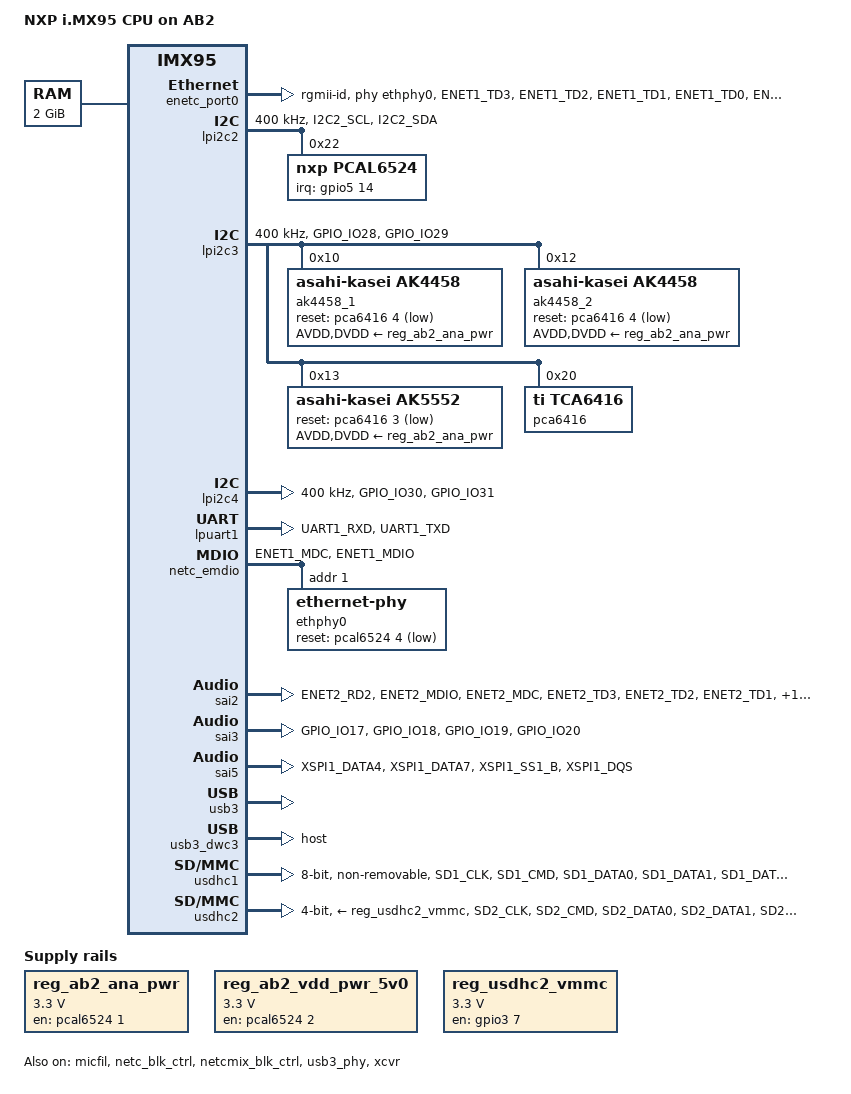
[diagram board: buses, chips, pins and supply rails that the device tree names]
// SPDX-License-Identifier: (GPL-2.0+ OR MIT)
/*
 * Copyright 2024 NXP
 */

/dts-v1/;

#include <dt-bindings/usb/pd.h>
#include "imx95.dtsi"

#define BRD_SM_CTRL_SD3_WAKE		0x8000
#define BRD_SM_CTRL_PCIE1_WAKE		0x8001
#define BRD_SM_CTRL_BT_WAKE		0x8002
#define BRD_SM_CTRL_PCIE2_WAKE		0x8003
#define BRD_SM_CTRL_BUTTON		0x8004

/ {
	compatible = "fsl,imx95-15x15-ab2", "fsl,imx95";
	model = "NXP i.MX95 CPU on AB2";

	aliases {
		ethernet0 = &enetc_port0;
		gpio0 = &gpio1;
		gpio1 = &gpio2;
		gpio2 = &gpio3;
		gpio3 = &gpio4;
		gpio4 = &gpio5;
		i2c0 = &lpi2c1;
		i2c1 = &lpi2c2;
		i2c2 = &lpi2c3;
		i2c3 = &lpi2c4;
		mmc0 = &usdhc1;
		mmc1 = &usdhc2;
		serial0 = &lpuart1;
	};

	chosen {
		#address-cells = <2>;
		#size-cells = <2>;
		stdout-path = &lpuart1;
	};

	reg_ab2_ana_pwr: regulator-ab2-ana-pwr {
		compatible = "regulator-fixed";
		regulator-name = "ab2_ana_pwr";
		regulator-always-on;
		regulator-max-microvolt = <3300000>;
		regulator-min-microvolt = <3300000>;
		gpio = <&pcal6524 1 GPIO_ACTIVE_HIGH>;
		enable-active-high;
	};

	reg_ab2_vdd_pwr_5v0: regulator-ab2-vdd-pwr-5v0 {
		compatible = "regulator-fixed";
		regulator-name = "ab2_vdd_pwr_5v0";
		regulator-always-on;
		regulator-max-microvolt = <3300000>;
		regulator-min-microvolt = <3300000>;
		gpio = <&pcal6524 2 GPIO_ACTIVE_HIGH>;
		enable-active-high;
	};

	reg_usdhc2_vmmc: regulator-usdhc2 {
		compatible = "regulator-fixed";
		regulator-name = "VDD_SD2_3V3";
		off-on-delay-us = <12000>;
		pinctrl-0 = <&pinctrl_reg_usdhc2_vmmc>;
		pinctrl-names = "default";
		regulator-max-microvolt = <3300000>;
		regulator-min-microvolt = <3300000>;
		gpio = <&gpio3 7 GPIO_ACTIVE_HIGH>;
		enable-active-high;
	};

	reserved-memory {
		ranges;
		#address-cells = <2>;
		#size-cells = <2>;

		linux_cma: linux,cma {
			compatible = "shared-dma-pool";
			alloc-ranges = <0 0x80000000 0 0x7f000000>;
			reusable;
			size = <0 0x3c000000>;
			linux,cma-default;
		};

		vpu_boot: vpu-boot@a0000000 {
			reg = <0 0xa0000000 0 0x100000>;
			no-map;
		};
	};

	sound-ak4458 {
		compatible = "fsl,imx-audio-card";
		model = "ak4458-audio";

		pri-dai-link {
			format = "i2s";
			link-name = "akcodec";
			fsl,mclk-equal-bclk;

			codec {
				sound-dai = <&ak4458_1>, <&ak4458_2>;
			};

			cpu {
				sound-dai = <&sai2>;
			};
		};
	};

	sound-ak5552 {
		compatible = "fsl,imx-audio-card";
		model = "ak5552-audio";

		pri-dai-link {
			format = "i2s";
			link-name = "akcodec";
			fsl,mclk-equal-bclk;

			codec {
				sound-dai = <&ak5552>;
			};

			cpu {
				sound-dai = <&sai3>;
			};
		};
	};

	sound-micfil {
		compatible = "fsl,imx-audio-card";
		model = "micfil-audio";

		pri-dai-link {
			format = "i2s";
			link-name = "micfil hifi";

			cpu {
				sound-dai = <&micfil>;
			};
		};
	};

	sound-xcvr {
		compatible = "fsl,imx-audio-card";
		model = "imx-audio-xcvr";

		pri-dai-link {
			link-name = "XCVR PCM";

			cpu {
				sound-dai = <&xcvr>;
			};
		};
	};

	memory@80000000 {
		reg = <0x0 0x80000000 0 0x80000000>;
		device_type = "memory";
	};
};

&enetc_port0 {
	phy-handle = <&ethphy0>;
	phy-mode = "rgmii-id";
	pinctrl-0 = <&pinctrl_enetc0>;
	pinctrl-names = "default";
	status = "okay";
};

&lpi2c1 {
	clock-frequency = <400000>;
	pinctrl-0 = <&pinctrl_lpi2c1>;
	pinctrl-names = "default";
	status = "disabled";
};

&lpi2c2 {
	clock-frequency = <400000>;
	pinctrl-0 = <&pinctrl_lpi2c2>;
	pinctrl-names = "default";
	status = "okay";

	pcal6524: gpio@22 {
		compatible = "nxp,pcal6524";
		reg = <0x22>;
		#interrupt-cells = <2>;
		interrupt-controller;
		interrupt-parent = <&gpio5>;
		interrupts = <14 IRQ_TYPE_LEVEL_LOW>;
		#gpio-cells = <2>;
		gpio-controller;
		pinctrl-0 = <&pinctrl_pcal6524>;
		pinctrl-names = "default";
	};
};

&lpi2c3 {
	clock-frequency = <400000>;
	pinctrl-0 = <&pinctrl_lpi2c3>;
	pinctrl-names = "default";
	status = "okay";

	ak4458_1: audio-codec@10 {
		compatible = "asahi-kasei,ak4458";
		reg = <0x10>;
		#sound-dai-cells = <0>;
		AVDD-supply = <&reg_ab2_ana_pwr>;
		DVDD-supply = <&reg_ab2_ana_pwr>;
		reset-gpios = <&pca6416 4 GPIO_ACTIVE_LOW>;
		sound-name-prefix = "0";
	};

	ak4458_3: audio-codec@11 {
		compatible = "asahi-kasei,ak4458";
		reg = <0x11>;
		#sound-dai-cells = <0>;
		AVDD-supply = <&reg_ab2_ana_pwr>;
		DVDD-supply = <&reg_ab2_ana_pwr>;
		reset-gpios = <&pca6416 4 GPIO_ACTIVE_LOW>;
		status = "disabled";
	};

	ak4458_2: audio-codec@12 {
		compatible = "asahi-kasei,ak4458";
		reg = <0x12>;
		#sound-dai-cells = <0>;
		AVDD-supply = <&reg_ab2_ana_pwr>;
		DVDD-supply = <&reg_ab2_ana_pwr>;
		reset-gpios = <&pca6416 4 GPIO_ACTIVE_LOW>;
		sound-name-prefix = "1";
	};

	ak5552: audio-codec@13 {
		compatible = "asahi-kasei,ak5552";
		reg = <0x13>;
		#sound-dai-cells = <0>;
		AVDD-supply = <&reg_ab2_ana_pwr>;
		DVDD-supply = <&reg_ab2_ana_pwr>;
		reset-gpios = <&pca6416 3 GPIO_ACTIVE_LOW>;
	};

	pca6416: gpio@20 {
		compatible = "ti,tca6416";
		reg = <0x20>;
		#gpio-cells = <2>;
		gpio-controller;
	};
};

&lpi2c4 {
	clock-frequency = <400000>;
	pinctrl-0 = <&pinctrl_lpi2c4>;
	pinctrl-names = "default";
	status = "okay";
};

&lpuart1 {
	/* console */
	pinctrl-names = "default";
	pinctrl-0 = <&pinctrl_uart1>;
	status = "okay";
};

&micfil {
	assigned-clocks = <&scmi_clk IMX95_CLK_AUDIOPLL1_VCO>,
			  <&scmi_clk IMX95_CLK_AUDIOPLL2_VCO>,
			  <&scmi_clk IMX95_CLK_AUDIOPLL1>,
			  <&scmi_clk IMX95_CLK_AUDIOPLL2>,
			  <&scmi_clk IMX95_CLK_PDM>;
	assigned-clock-parents = <0>, <0>, <0>, <0>,
				 <&scmi_clk IMX95_CLK_AUDIOPLL1>;
	assigned-clock-rates = <3932160000>,
			       <3612672000>, <393216000>,
			       <361267200>, <49152000>;
	#sound-dai-cells = <0>;
	pinctrl-0 = <&pinctrl_pdm>;
	pinctrl-names = "default";
	status = "okay";
};

&netc_blk_ctrl {
	status = "okay";
};

&netc_emdio {
	pinctrl-0 = <&pinctrl_emdio>;
	pinctrl-names = "default";
	status = "okay";

	ethphy0: ethernet-phy@1 {
		reg = <1>;
		reset-assert-us = <10000>;
		reset-deassert-us = <80000>;
		reset-gpios = <&pcal6524 4 GPIO_ACTIVE_LOW>;
		realtek,clkout-disable;
	};
};

&netcmix_blk_ctrl {
	status = "okay";
};

&sai2 {
	clocks = <&scmi_clk IMX95_CLK_BUSNETCMIX>, <&dummy>,
		 <&scmi_clk IMX95_CLK_SAI2>, <&dummy>,
		 <&dummy>, <&scmi_clk IMX95_CLK_AUDIOPLL1>,
		 <&scmi_clk IMX95_CLK_AUDIOPLL2>;
	clock-names = "bus", "mclk0", "mclk1", "mclk2", "mclk3", "pll8k", "pll11k";
	assigned-clocks = <&scmi_clk IMX95_CLK_AUDIOPLL1_VCO>,
			  <&scmi_clk IMX95_CLK_AUDIOPLL2_VCO>,
			  <&scmi_clk IMX95_CLK_AUDIOPLL1>,
			  <&scmi_clk IMX95_CLK_AUDIOPLL2>,
			  <&scmi_clk IMX95_CLK_SAI2>;
	assigned-clock-parents = <0>, <0>, <0>, <0>,
				 <&scmi_clk IMX95_CLK_AUDIOPLL1>;
	assigned-clock-rates = <3932160000>,
			       <3612672000>, <393216000>,
			       <361267200>, <12288000>;
	#sound-dai-cells = <0>;
	pinctrl-0 = <&pinctrl_sai2>;
	pinctrl-names = "default";
	fsl,sai-asynchronous;
	fsl,sai-mclk-direction-output;
	status = "okay";
};

&sai3 {
	clocks = <&scmi_clk IMX95_CLK_BUSNETCMIX>, <&dummy>,
		 <&scmi_clk IMX95_CLK_SAI3>, <&dummy>,
		 <&dummy>, <&scmi_clk IMX95_CLK_AUDIOPLL1>,
		 <&scmi_clk IMX95_CLK_AUDIOPLL2>;
	clock-names = "bus", "mclk0", "mclk1", "mclk2", "mclk3", "pll8k", "pll11k";
	assigned-clocks = <&scmi_clk IMX95_CLK_AUDIOPLL1_VCO>,
			  <&scmi_clk IMX95_CLK_AUDIOPLL2_VCO>,
			  <&scmi_clk IMX95_CLK_AUDIOPLL1>,
			  <&scmi_clk IMX95_CLK_AUDIOPLL2>,
			  <&scmi_clk IMX95_CLK_SAI3>;
	assigned-clock-parents = <0>, <0>, <0>, <0>,
				 <&scmi_clk IMX95_CLK_AUDIOPLL1>;
	assigned-clock-rates = <3932160000>,
			       <3612672000>, <393216000>,
			       <361267200>, <12288000>;
	#sound-dai-cells = <0>;
	pinctrl-0 = <&pinctrl_sai3>;
	pinctrl-names = "default";
	fsl,sai-asynchronous;
	fsl,sai-mclk-direction-output;
	status = "okay";
};

&sai5 {
	assigned-clocks = <&scmi_clk IMX95_CLK_AUDIOPLL1_VCO>,
			  <&scmi_clk IMX95_CLK_AUDIOPLL2_VCO>,
			  <&scmi_clk IMX95_CLK_AUDIOPLL1>,
			  <&scmi_clk IMX95_CLK_AUDIOPLL2>,
			  <&scmi_clk IMX95_CLK_SAI5>;
	assigned-clock-parents = <0>, <0>, <0>, <0>,
				 <&scmi_clk IMX95_CLK_AUDIOPLL1>;
	assigned-clock-rates = <3932160000>,
			       <3612672000>, <393216000>,
			       <361267200>, <12288000>;
	#sound-dai-cells = <0>;
	pinctrl-0 = <&pinctrl_sai5>;
	pinctrl-names = "default";
	fsl,sai-mclk-direction-output;
	status = "okay";
};

&scmi_iomuxc {
	pinctrl_emdio: emdiogrp {
		fsl,pins = <
			IMX95_PAD_ENET1_MDC__NETCMIX_TOP_NETC_MDC		0x50e
			IMX95_PAD_ENET1_MDIO__NETCMIX_TOP_NETC_MDIO		0x90e
		>;
	};

	pinctrl_enetc0: enetc0grp {
		fsl,pins = <
			IMX95_PAD_ENET1_TD3__NETCMIX_TOP_ETH0_RGMII_TD3		0x50e
			IMX95_PAD_ENET1_TD2__NETCMIX_TOP_ETH0_RGMII_TD2		0x50e
			IMX95_PAD_ENET1_TD1__NETCMIX_TOP_ETH0_RGMII_TD1		0x50e
			IMX95_PAD_ENET1_TD0__NETCMIX_TOP_ETH0_RGMII_TD0		0x50e
			IMX95_PAD_ENET1_TX_CTL__NETCMIX_TOP_ETH0_RGMII_TX_CTL	0x57e
			IMX95_PAD_ENET1_TXC__NETCMIX_TOP_ETH0_RGMII_TX_CLK	0x58e
			IMX95_PAD_ENET1_RX_CTL__NETCMIX_TOP_ETH0_RGMII_RX_CTL	0x57e
			IMX95_PAD_ENET1_RXC__NETCMIX_TOP_ETH0_RGMII_RX_CLK	0x58e
			IMX95_PAD_ENET1_RD0__NETCMIX_TOP_ETH0_RGMII_RD0		0x57e
			IMX95_PAD_ENET1_RD1__NETCMIX_TOP_ETH0_RGMII_RD1		0x57e
			IMX95_PAD_ENET1_RD2__NETCMIX_TOP_ETH0_RGMII_RD2		0x57e
			IMX95_PAD_ENET1_RD3__NETCMIX_TOP_ETH0_RGMII_RD3		0x57e
		>;
	};

	pinctrl_lpi2c1: lpi2c1grp {
		fsl,pins = <
			IMX95_PAD_I2C1_SCL__AONMIX_TOP_LPI2C1_SCL	0x40000b9e
			IMX95_PAD_I2C1_SDA__AONMIX_TOP_LPI2C1_SDA	0x40000b9e
		>;
	};

	pinctrl_lpi2c2: lpi2c2grp {
		fsl,pins = <
			IMX95_PAD_I2C2_SCL__AONMIX_TOP_LPI2C2_SCL	0x40000b9e
			IMX95_PAD_I2C2_SDA__AONMIX_TOP_LPI2C2_SDA	0x40000b9e
		>;
	};

	pinctrl_lpi2c3: lpi2c3grp {
		fsl,pins = <
			IMX95_PAD_GPIO_IO28__LPI2C3_SDA			0x40000b9e
			IMX95_PAD_GPIO_IO29__LPI2C3_SCL			0x40000b9e
		>;
	};

	pinctrl_lpi2c4: lpi2c4grp {
		fsl,pins = <
			IMX95_PAD_GPIO_IO30__LPI2C4_SDA			0x40000b9e
			IMX95_PAD_GPIO_IO31__LPI2C4_SCL			0x40000b9e
		>;
	};

	pinctrl_pcal6524: pcal6524grp {
		fsl,pins = <
			IMX95_PAD_GPIO_IO34__GPIO5_IO_BIT14		0x31e
		>;
	};

	pinctrl_pdm: pdmgrp {
		fsl,pins = <
			IMX95_PAD_PDM_CLK__AONMIX_TOP_PDM_CLK				0x31e
			IMX95_PAD_PDM_BIT_STREAM0__AONMIX_TOP_PDM_BIT_STREAM_BIT0	0x31e
			IMX95_PAD_GPIO_IO06__AONMIX_TOP_PDM_BIT_STREAM_BIT1		0x31e
			IMX95_PAD_GPIO_IO12__AONMIX_TOP_PDM_BIT_STREAM_BIT2		0x31e
			IMX95_PAD_GPIO_IO13__AONMIX_TOP_PDM_BIT_STREAM_BIT3		0x31e
		>;
	};

	pinctrl_reg_usdhc2_vmmc: regusdhc2vmmcgrp {
		fsl,pins = <
			IMX95_PAD_SD2_RESET_B__GPIO3_IO_BIT7			0x31e
		>;
	};

	pinctrl_sai2: sai2grp {
		fsl,pins = <
			IMX95_PAD_ENET2_RD2__NETCMIX_TOP_SAI2_MCLK			0x31e
			IMX95_PAD_ENET2_MDIO__NETCMIX_TOP_SAI2_RX_BCLK			0x31e
			IMX95_PAD_ENET2_MDC__NETCMIX_TOP_SAI2_RX_SYNC			0x31e
			IMX95_PAD_ENET2_TD3__NETCMIX_TOP_SAI2_RX_DATA_BIT0		0x31e
			IMX95_PAD_ENET2_TD2__NETCMIX_TOP_SAI2_RX_DATA_BIT1		0x31e
			IMX95_PAD_ENET2_TD1__NETCMIX_TOP_SAI2_RX_DATA_BIT2		0x31e
			IMX95_PAD_ENET2_TD0__NETCMIX_TOP_SAI2_RX_DATA_BIT3		0x31e
			IMX95_PAD_ENET2_TXC__NETCMIX_TOP_SAI2_TX_BCLK			0x31e
			IMX95_PAD_ENET2_TX_CTL__NETCMIX_TOP_SAI2_TX_SYNC		0x31e
			IMX95_PAD_ENET2_RX_CTL__NETCMIX_TOP_SAI2_TX_DATA_BIT0		0x31e
			IMX95_PAD_ENET2_RXC__NETCMIX_TOP_SAI2_TX_DATA_BIT1		0x31e
			IMX95_PAD_ENET2_RD0__NETCMIX_TOP_SAI2_TX_DATA_BIT2		0x31e
			IMX95_PAD_ENET2_RD1__NETCMIX_TOP_SAI2_TX_DATA_BIT3		0x31e
			IMX95_PAD_XSPI1_DATA0__NETCMIX_TOP_SAI2_TX_DATA_BIT4		0x31e
			IMX95_PAD_XSPI1_DATA1__NETCMIX_TOP_SAI2_TX_DATA_BIT5		0x31e
			IMX95_PAD_XSPI1_DATA2__NETCMIX_TOP_SAI2_TX_DATA_BIT6		0x31e
			IMX95_PAD_XSPI1_DATA3__NETCMIX_TOP_SAI2_TX_DATA_BIT7		0x31e
		>;
	};

	pinctrl_sai3: sai3grp {
		fsl,pins = <
			IMX95_PAD_GPIO_IO17__SAI3_MCLK				0x31e
			IMX95_PAD_GPIO_IO18__SAI3_RX_BCLK			0x31e
			IMX95_PAD_GPIO_IO19__SAI3_RX_SYNC			0x31e
			IMX95_PAD_GPIO_IO20__SAI3_RX_DATA_BIT0			0x31e
		>;
	};

	pinctrl_sai5: sai5grp {
		fsl,pins = <
			IMX95_PAD_XSPI1_DATA4__SAI5_TX_DATA_BIT0		0x31e
			IMX95_PAD_XSPI1_DATA7__SAI5_RX_DATA_BIT0		0x31e
			IMX95_PAD_XSPI1_SS1_B__SAI5_RX_BCLK			0x31e
			IMX95_PAD_XSPI1_DQS__SAI5_RX_SYNC			0x31e

		>;
	};

	pinctrl_spdif: spdifgrp {
		fsl,pins = <
			IMX95_PAD_GPIO_IO22__SPDIF_IN				0x31e
			IMX95_PAD_GPIO_IO23__SPDIF_OUT				0x31e
		>;
	};

	pinctrl_uart1: uart1grp {
		fsl,pins = <
			IMX95_PAD_UART1_RXD__AONMIX_TOP_LPUART1_RX      0x31e
			IMX95_PAD_UART1_TXD__AONMIX_TOP_LPUART1_TX      0x31e
		>;
	};

	pinctrl_usdhc1: usdhc1grp {
		fsl,pins = <
			IMX95_PAD_SD1_CLK__USDHC1_CLK				0x158e
			IMX95_PAD_SD1_CMD__USDHC1_CMD				0x138e
			IMX95_PAD_SD1_DATA0__USDHC1_DATA0			0x138e
			IMX95_PAD_SD1_DATA1__USDHC1_DATA1			0x138e
			IMX95_PAD_SD1_DATA2__USDHC1_DATA2			0x138e
			IMX95_PAD_SD1_DATA3__USDHC1_DATA3			0x138e
			IMX95_PAD_SD1_DATA4__USDHC1_DATA4			0x138e
			IMX95_PAD_SD1_DATA5__USDHC1_DATA5			0x138e
			IMX95_PAD_SD1_DATA6__USDHC1_DATA6			0x138e
			IMX95_PAD_SD1_DATA7__USDHC1_DATA7			0x138e
			IMX95_PAD_SD1_STROBE__USDHC1_STROBE			0x158e
		>;
	};

	pinctrl_usdhc1_100mhz: usdhc1-100mhzgrp {
		fsl,pins = <
			IMX95_PAD_SD1_CLK__USDHC1_CLK				0x158e
			IMX95_PAD_SD1_CMD__USDHC1_CMD				0x138e
			IMX95_PAD_SD1_DATA0__USDHC1_DATA0			0x138e
			IMX95_PAD_SD1_DATA1__USDHC1_DATA1			0x138e
			IMX95_PAD_SD1_DATA2__USDHC1_DATA2			0x138e
			IMX95_PAD_SD1_DATA3__USDHC1_DATA3			0x138e
			IMX95_PAD_SD1_DATA4__USDHC1_DATA4			0x138e
			IMX95_PAD_SD1_DATA5__USDHC1_DATA5			0x138e
			IMX95_PAD_SD1_DATA6__USDHC1_DATA6			0x138e
			IMX95_PAD_SD1_DATA7__USDHC1_DATA7			0x138e
			IMX95_PAD_SD1_STROBE__USDHC1_STROBE			0x158e
		>;
	};

	pinctrl_usdhc1_200mhz: usdhc1-200mhzgrp {
		fsl,pins = <
			IMX95_PAD_SD1_CLK__USDHC1_CLK				0x15fe
			IMX95_PAD_SD1_CMD__USDHC1_CMD				0x13fe
			IMX95_PAD_SD1_DATA0__USDHC1_DATA0			0x13fe
			IMX95_PAD_SD1_DATA1__USDHC1_DATA1			0x13fe
			IMX95_PAD_SD1_DATA2__USDHC1_DATA2			0x13fe
			IMX95_PAD_SD1_DATA3__USDHC1_DATA3			0x13fe
			IMX95_PAD_SD1_DATA4__USDHC1_DATA4			0x13fe
			IMX95_PAD_SD1_DATA5__USDHC1_DATA5			0x13fe
			IMX95_PAD_SD1_DATA6__USDHC1_DATA6			0x13fe
			IMX95_PAD_SD1_DATA7__USDHC1_DATA7			0x13fe
			IMX95_PAD_SD1_STROBE__USDHC1_STROBE			0x15fe
		>;
	};

	pinctrl_usdhc2_gpio: usdhc2gpiogrp {
		fsl,pins = <
			IMX95_PAD_SD2_CD_B__GPIO3_IO_BIT0			0x31e
		>;
	};

	pinctrl_usdhc2: usdhc2grp {
		fsl,pins = <
			IMX95_PAD_SD2_CLK__USDHC2_CLK				0x158e
			IMX95_PAD_SD2_CMD__USDHC2_CMD				0x138e
			IMX95_PAD_SD2_DATA0__USDHC2_DATA0			0x138e
			IMX95_PAD_SD2_DATA1__USDHC2_DATA1			0x138e
			IMX95_PAD_SD2_DATA2__USDHC2_DATA2			0x138e
			IMX95_PAD_SD2_DATA3__USDHC2_DATA3			0x138e
			IMX95_PAD_SD2_VSELECT__USDHC2_VSELECT			0x51e
		>;
	};

	pinctrl_usdhc2_100mhz: usdhc2-100mhzgrp {
		fsl,pins = <
			IMX95_PAD_SD2_CLK__USDHC2_CLK				0x158e
			IMX95_PAD_SD2_CMD__USDHC2_CMD				0x138e
			IMX95_PAD_SD2_DATA0__USDHC2_DATA0			0x138e
			IMX95_PAD_SD2_DATA1__USDHC2_DATA1			0x138e
			IMX95_PAD_SD2_DATA2__USDHC2_DATA2			0x138e
			IMX95_PAD_SD2_DATA3__USDHC2_DATA3			0x138e
			IMX95_PAD_SD2_VSELECT__USDHC2_VSELECT			0x51e
		>;
	};

	pinctrl_usdhc2_200mhz: usdhc2-200mhzgrp {
		fsl,pins = <
			IMX95_PAD_SD2_CLK__USDHC2_CLK				0x15fe
			IMX95_PAD_SD2_CMD__USDHC2_CMD				0x13fe
			IMX95_PAD_SD2_DATA0__USDHC2_DATA0			0x13fe
			IMX95_PAD_SD2_DATA1__USDHC2_DATA1			0x13fe
			IMX95_PAD_SD2_DATA2__USDHC2_DATA2			0x13fe
			IMX95_PAD_SD2_DATA3__USDHC2_DATA3			0x13fe
			IMX95_PAD_SD2_VSELECT__USDHC2_VSELECT			0x51e
		>;
	};
};

&scmi_misc {
	nxp,ctrl-ids = <BRD_SM_CTRL_SD3_WAKE		1>,
		       <BRD_SM_CTRL_PCIE1_WAKE		1>,
		       <BRD_SM_CTRL_BT_WAKE		1>,
		       <BRD_SM_CTRL_PCIE2_WAKE		1>,
		       <BRD_SM_CTRL_BUTTON		1>;
};

&usb3 {
	status = "okay";
};

&usb3_dwc3 {
	adp-disable;
	dr_mode = "host";
	hnp-disable;
	srp-disable;
	snps,dis-u1-entry-quirk;
	snps,dis-u2-entry-quirk;
	status = "okay";
};

&usb3_phy {
	status = "okay";
};

&usdhc1 {
	bus-width = <8>;
	non-removable;
	no-sd;
	no-sdio;
	pinctrl-0 = <&pinctrl_usdhc1>;
	pinctrl-1 = <&pinctrl_usdhc1_100mhz>;
	pinctrl-2 = <&pinctrl_usdhc1_200mhz>;
	pinctrl-3 = <&pinctrl_usdhc1>;
	pinctrl-names = "default", "state_100mhz", "state_200mhz", "sleep";
	fsl,tuning-step = <1>;
	status = "okay";
};

&usdhc2 {
	bus-width = <4>;
	cd-gpios = <&gpio3 00 GPIO_ACTIVE_LOW>;
	pinctrl-0 = <&pinctrl_usdhc2>, <&pinctrl_usdhc2_gpio>;
	pinctrl-1 = <&pinctrl_usdhc2_100mhz>, <&pinctrl_usdhc2_gpio>;
	pinctrl-2 = <&pinctrl_usdhc2_200mhz>, <&pinctrl_usdhc2_gpio>;
	pinctrl-3 = <&pinctrl_usdhc2>, <&pinctrl_usdhc2_gpio>;
	pinctrl-names = "default", "state_100mhz", "state_200mhz", "sleep";
	vmmc-supply = <&reg_usdhc2_vmmc>;
	status = "okay";
};

&xcvr {
	clocks = <&scmi_clk IMX95_CLK_BUSWAKEUP>,
		 <&scmi_clk IMX95_CLK_SPDIF>,
		 <&dummy>,
		 <&scmi_clk IMX95_CLK_AUDIOXCVR>,
		 <&scmi_clk IMX95_CLK_AUDIOPLL1>,
		 <&scmi_clk IMX95_CLK_AUDIOPLL2>;
	clock-names = "ipg", "phy", "spba", "pll_ipg", "pll8k", "pll11k";
	assigned-clocks = <&scmi_clk IMX95_CLK_AUDIOPLL1_VCO>,
			  <&scmi_clk IMX95_CLK_AUDIOPLL2_VCO>,
			  <&scmi_clk IMX95_CLK_AUDIOPLL1>,
			  <&scmi_clk IMX95_CLK_AUDIOPLL2>,
			  <&scmi_clk IMX95_CLK_SPDIF>,
			  <&scmi_clk IMX95_CLK_AUDIOXCVR>;
	assigned-clock-parents = <0>, <0>, <0>, <0>,
				 <&scmi_clk IMX95_CLK_AUDIOPLL1>,
				 <&scmi_clk IMX95_CLK_SYSPLL1_PFD1_DIV2>;
	assigned-clock-rates = <3932160000>, <3612672000>,
			       <393216000>, <361267200>,
			       <12288000>, <0>;
	#sound-dai-cells = <0>;
	pinctrl-0 = <&pinctrl_spdif>;
	pinctrl-names = "default";
	status = "okay";
};
